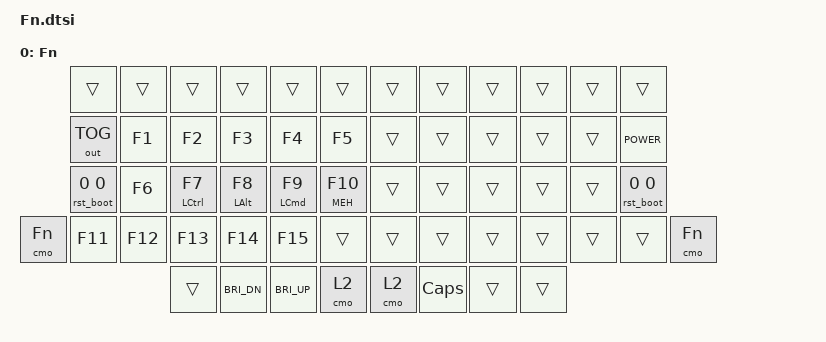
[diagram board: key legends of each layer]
/**
 * Function / System Layer
 */

/ {
  keymap {
    compatible = "zmk,keymap";

    fn_layer {
      display-name = "Fn";
      bindings = <
//╭────────────────────────────┬────────────────────────────╮ 
//│  0   1   2   3   4   5     │      6   7   8   9  10  11 │
  &trans &trans &trans &trans &trans &trans &trans &trans &trans &trans &trans &trans
//│ 12  13  14  15  16  17     │     18  19  20  21  22  23 │
  &out OUT_TOG &kp F1 &kp F2 &kp F3 &kp F4 &kp F5 &trans &trans &trans &trans &trans &kp C_POWER
//│ 24  25  26  27  28  29     │     30  31  32  33  34  35 │
  &rst_boot 0 0 &kp F6 &hrml LCTRL F7 &hrml LALT F8 &hrml LCMD F9 &hrml MEH F10 &trans &trans &trans &trans &trans &rst_boot 0 0
//│ 36  37  38  39  40  41  42 │ 43  44  45  46  47  48  49 │
  &cmo Fn &kp F11 &kp F12 &kp F13 &kp F14 &kp F15 &trans &trans &trans &trans &trans &trans &trans &cmo Fn
//╰───────────╮ 50  51  52  53 │ 54  55  56  57 ╭───────────╯
  &trans &kp C_BRI_DN &kp C_BRI_UP &cmo L2 &cmo L2 &kp CAPSLOCK &trans &trans
//            ╰────────────────┴────────────────╯            
      >;
    };
  };
};
